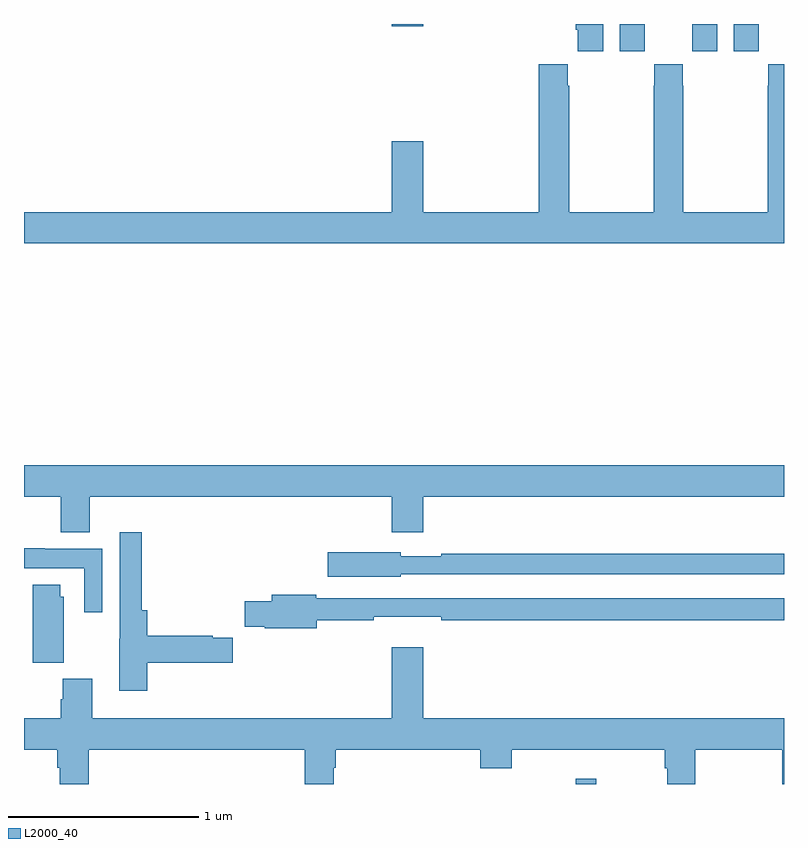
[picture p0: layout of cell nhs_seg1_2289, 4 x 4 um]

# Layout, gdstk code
import gdstk
lib = gdstk.Library(unit=1e-6, precision=1e-09)
def R(c, l, rs):  # rectangles x0, y0, x1, y1
    for r in rs: c.add(gdstk.rectangle(r[:2], r[2:], *l))
def P(c, l, *ps):  # polygons
    for p in ps: c.add(gdstk.Polygon(p, *l))
L2000_40 = (2000, 40)

nhs_seg1_2289 = lib.new_cell('nhs_seg1_2289')
R(nhs_seg1_2289, L2000_40, [(237.903,570.199,238.012,570.226), (236.936,574.188,237.1,574.199)])
P(nhs_seg1_2289, L2000_40, [(238.866,574.168),(238.867,574.168),(238.867,574.199),(238.736,574.199),(238.736,574.056),(238.866,574.056)],
  [(238.648,574.199),(238.517,574.199),(238.517,574.168),(238.518,574.168),(238.518,574.056),(238.648,574.056)],
  [(238.266,574.168),(238.267,574.168),(238.267,574.199),(238.136,574.199),(238.136,574.056),(238.266,574.056)],
  [(238.048,574.199),(237.905,574.199),(237.905,574.168),(237.914,574.168),(237.914,574.056),(238.048,574.056)],
  [(239,573.988),(238.917,573.988),(238.917,573.875),(238.915,573.875),(238.915,573.208),(238.47,573.208),(238.47,573.875),(238.467,573.875),(238.467,573.988),(238.317,573.988),(238.317,573.875),(238.315,573.875),(238.315,573.208),(237.87,573.208),(237.87,573.875),(237.863,573.875),(237.863,573.988),(237.71,573.988),(237.71,573.208),(237.1,573.208),(237.1,573.583),(236.936,573.583),(236.936,573.208),(235,573.208),(235,573.044),(239,573.044)],
  [(235.345,571.712),(236.936,571.712),(236.936,571.524),(237.1,571.524),(237.1,571.712),(239,571.712),(239,571.876),(235,571.876),(235,571.712),(235.193,571.712),(235.193,571.523),(235.345,571.523)],
  [(235.649,570.838),(236.099,570.838),(236.099,570.968),(235.994,570.968),(235.994,570.98),(235.649,570.98),(235.649,571.114),(235.619,571.114),(235.619,571.525),(235.503,571.525),(235.503,570.963),(235.502,570.963),(235.502,570.69),(235.649,570.69)],
  [(235.413,571.438),(235.109,571.438),(235.109,571.441),(235,571.441),(235,571.334),(235.317,571.334),(235.317,571.104),(235.413,571.104)],
  [(236.982,571.302),(239,571.302),(239,571.411),(237.196,571.411),(237.196,571.398),(236.982,571.398),(236.982,571.419),(236.598,571.419),(236.598,571.289),(236.982,571.289)],
  [(235.21,571.185),(235.192,571.185),(235.192,571.249),(235.046,571.249),(235.046,570.838),(235.21,570.838)],
  [(236.542,571.06),(236.84,571.06),(236.84,571.079),(237.196,571.079),(237.196,571.06),(239,571.06),(239,571.176),(236.538,571.176),(236.538,571.196),(236.303,571.196),(236.303,571.16),(236.161,571.16),(236.161,571.026),(236.266,571.026),(236.266,571.018),(236.542,571.018)],
  [(235.34,570.38),(236.477,570.38),(236.477,570.199),(236.629,570.199),(236.629,570.284),(236.642,570.284),(236.642,570.38),(237.401,570.38),(237.401,570.281),(237.566,570.281),(237.566,570.38),(238.373,570.38),(238.373,570.282),(238.385,570.282),(238.385,570.199),(238.533,570.199),(238.533,570.38),(238.99,570.38),(238.99,570.199),(239,570.199),(239,570.544),(237.1,570.544),(237.1,570.919),(236.936,570.919),(236.936,570.544),(235.358,570.544),(235.358,570.753),(235.205,570.753),(235.205,570.644),(235.193,570.644),(235.193,570.544),(235,570.544),(235,570.38),(235.175,570.38),(235.175,570.284),(235.187,570.284),(235.187,570.199),(235.34,570.199)])

lib.write_gds('nhs_seg1_2289.gds')
